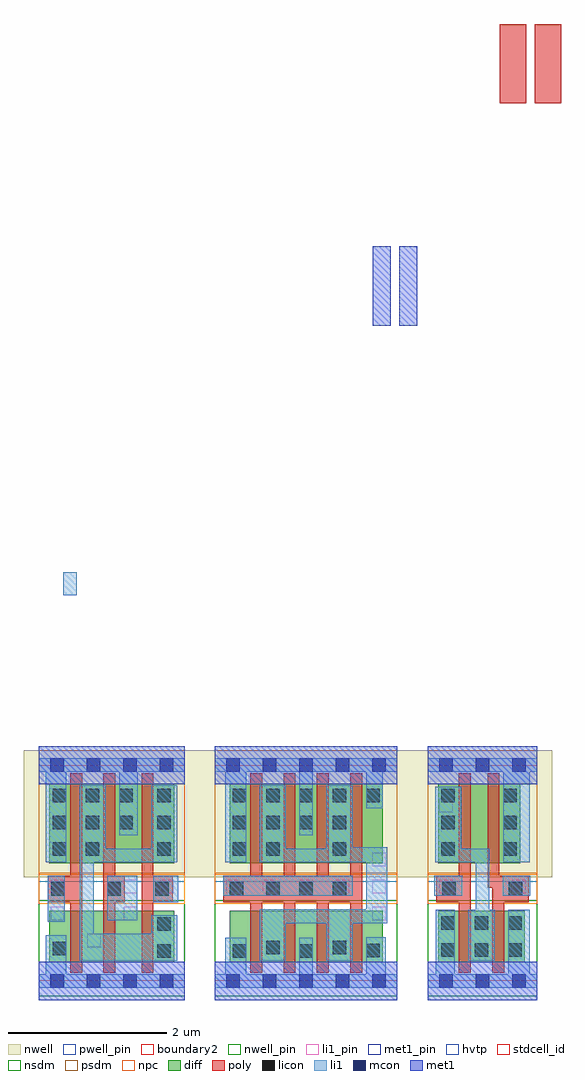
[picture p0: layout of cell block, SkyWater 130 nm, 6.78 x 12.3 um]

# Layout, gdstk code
import gdstk
lib = gdstk.Library(unit=1e-6, precision=1e-09)
def R(c, l, rs):  # rectangles x0, y0, x1, y1
    for r in rs: c.add(gdstk.rectangle(r[:2], r[2:], *l))
def A(c, l, x, y, w, h, nx, ny, dx, dy):  # array of equal rectangles
    R(c, l, [(x+i*dx, y+j*dy, x+i*dx+w, y+j*dy+h) for i in range(nx) for j in range(ny)])
def P(c, l, *ps):  # polygons
    for p in ps: c.add(gdstk.Polygon(p, *l))
nwell_pin = (64, 16)
nwell = (64, 20)
diff = (65, 20)
poly = (66, 20)
licon = (66, 44)
li1_pin = (67, 16)
li1 = (67, 20)
mcon = (67, 44)
met1_pin = (68, 16)
met1 = (68, 20)
hvtp = (78, 44)
stdcell_id = (81, 4)
nsdm = (93, 44)
psdm = (94, 20)
npc = (95, 20)
pwell_pin = (122, 16)
boundary2 = (236, 0)

sky130_fd_sc_hd__nand3_1 = lib.new_cell('sky130_fd_sc_hd__nand3_1')
R(sky130_fd_sc_hd__nand3_1, nwell_pin, [(0.15,2.635,0.32,2.805)])
R(sky130_fd_sc_hd__nand3_1, nwell, [(-0.19,1.305,2.03,2.91)])
R(sky130_fd_sc_hd__nand3_1, diff, [(0.135,0.235,1.705,0.885), (0.135,1.485,1.705,2.485)])
P(sky130_fd_sc_hd__nand3_1, poly, [(1.295,0.105),(1.295,2.615),(1.445,2.615),(1.445,1.325),(1.69,1.325),(1.69,0.995),(1.445,0.995),(1.445,0.105)],
  [(0.815,0.105),(0.815,2.615),(0.965,2.615),(0.965,1.325),(1.085,1.325),(1.085,0.995),(0.965,0.995),(0.965,0.105)],
  [(0.395,0.105),(0.395,0.995),(0.11,0.995),(0.11,1.325),(0.395,1.325),(0.395,2.615),(0.545,2.615),(0.545,0.105)])
A(sky130_fd_sc_hd__nand3_1, licon, 1.495, 1.575, 0.17, 0.17, 1, 3, 0, 0.34)
A(sky130_fd_sc_hd__nand3_1, licon, 0.175, 1.915, 0.17, 0.17, 3, 2, 0.42, 0.34)
R(sky130_fd_sc_hd__nand3_1, licon, [(1.495,0.295,1.665,0.465), (0.175,0.325,0.345,0.495), (1.495,0.635,1.665,0.805), (0.16,1.075,0.33,1.245), (0.865,1.075,1.035,1.245), (1.47,1.075,1.64,1.245), (0.175,1.575,0.345,1.745), (0.595,1.575,0.765,1.745)])
R(sky130_fd_sc_hd__nand3_1, li1_pin, [(0.61,0.425,0.78,0.595), (0.15,0.765,0.32,0.935), (1.07,0.765,1.24,0.935), (0.15,1.105,0.32,1.275), (1.07,1.105,1.24,1.275), (1.53,1.105,1.7,1.275)])
R(sky130_fd_sc_hd__nand3_1, li1, [(0.11,0.745,0.33,1.325), (0.865,0.765,1.24,1.325), (1.445,0.995,1.755,1.325)])
P(sky130_fd_sc_hd__nand3_1, li1, [(0.09,1.495),(0.09,2.635),(0,2.635),(0,2.805),(1.84,2.805),(1.84,2.635),(1.245,2.635),(1.245,1.835),(1.015,1.835),(1.015,2.635),(0.345,2.635),(0.345,1.495)],
  [(0,-0.085),(0,0.085),(0.09,0.085),(0.09,0.575),(0.345,0.575),(0.345,0.085),(1.84,0.085),(1.84,-0.085)],
  [(0.515,0.255),(0.515,2.465),(0.845,2.465),(0.845,1.665),(1.415,1.665),(1.415,2.465),(1.745,2.465),(1.745,1.495),(0.695,1.495),(0.695,0.595),(1.415,0.595),(1.415,0.825),(1.745,0.825),(1.745,0.255)])
A(sky130_fd_sc_hd__nand3_1, mcon, 0.145, -0.085, 0.17, 0.17, 4, 2, 0.46, 2.72)
R(sky130_fd_sc_hd__nand3_1, met1_pin, [(0.15,-0.085,0.32,0.085), (0.15,2.635,0.32,2.805)])
R(sky130_fd_sc_hd__nand3_1, hvtp, [(0,1.25,1.84,2.72)])
R(sky130_fd_sc_hd__nand3_1, stdcell_id, [(0,0,1.84,2.72)])
R(sky130_fd_sc_hd__nand3_1, nsdm, [(0,-0.19,1.84,1.015)])
R(sky130_fd_sc_hd__nand3_1, psdm, [(0,1.355,1.84,2.91)])
R(sky130_fd_sc_hd__nand3_1, npc, [(0,0.975,1.84,1.345)])
R(sky130_fd_sc_hd__nand3_1, pwell_pin, [(0.15,-0.085,0.32,0.085)])
R(sky130_fd_sc_hd__nand3_1, boundary2, [(0,0,1.84,2.72)])
sky130_fd_sc_hd__nand3_1.add(gdstk.FlexPath([(0,2.72),(1.84,2.72)], 0.48, ends="flush", simple_path=True, layer=68, datatype=20))  # met1
sky130_fd_sc_hd__nand3_1.add(gdstk.FlexPath([(0,0),(1.84,0)], 0.48, ends="flush", simple_path=True, layer=68, datatype=20))  # met1
sky130_fd_sc_hd__nand3_1.add(gdstk.Label('Y', (0.695,0.51), layer=67, texttype=5))
sky130_fd_sc_hd__nand3_1.add(gdstk.Label('A', (1.615,1.19), layer=67, texttype=5))
sky130_fd_sc_hd__nand3_1.add(gdstk.Label('C', (0.235,1.19), layer=67, texttype=5))
sky130_fd_sc_hd__nand3_1.add(gdstk.Label('B', (1.155,1.19), layer=67, texttype=5))
sky130_fd_sc_hd__nand3_1.add(gdstk.Label('VPB', (0.235,2.72), layer=64, texttype=5))
sky130_fd_sc_hd__nand3_1.add(gdstk.Label('VNB', (0.235,0), layer=64, texttype=59))
sky130_fd_sc_hd__nand3_1.add(gdstk.Label('VGND', (0.235,0), layer=68, texttype=5))
sky130_fd_sc_hd__nand3_1.add(gdstk.Label('VPWR', (0.235,2.72), layer=68, texttype=5))
sky130_fd_sc_hd__nand3_1.add(gdstk.Label('nand3_1', (0,0), layer=83, texttype=44))

sky130_fd_sc_hd__inv_4 = lib.new_cell('sky130_fd_sc_hd__inv_4')
R(sky130_fd_sc_hd__inv_4, nwell_pin, [(0.145,2.635,0.315,2.805)])
R(sky130_fd_sc_hd__inv_4, nwell, [(-0.19,1.305,2.49,2.91)])
R(sky130_fd_sc_hd__inv_4, diff, [(0.185,0.235,2.115,0.885), (0.185,1.485,2.115,2.485)])
P(sky130_fd_sc_hd__inv_4, poly, [(0.445,0.105),(0.445,0.995),(0.105,0.995),(0.105,1.325),(0.445,1.325),(0.445,2.615),(0.595,2.615),(0.595,1.325),(0.865,1.325),(0.865,2.615),(1.015,2.615),(1.015,1.325),(1.285,1.325),(1.285,2.615),(1.435,2.615),(1.435,1.325),(1.705,1.325),(1.705,2.615),(1.855,2.615),(1.855,0.105),(1.705,0.105),(1.705,0.995),(1.435,0.995),(1.435,0.105),(1.285,0.105),(1.285,0.995),(1.015,0.995),(1.015,0.105),(0.865,0.105),(0.865,0.995),(0.595,0.995),(0.595,0.105)])
A(sky130_fd_sc_hd__inv_4, licon, 0.645, 1.075, 0.17, 0.17, 3, 1, 0.42, 0)
A(sky130_fd_sc_hd__inv_4, licon, 0.225, 1.915, 0.17, 0.17, 4, 1, 0.42, 0)
A(sky130_fd_sc_hd__inv_4, licon, 0.225, 2.255, 0.17, 0.17, 5, 1, 0.42, 0)
R(sky130_fd_sc_hd__inv_4, licon, [(0.225,0.295,0.395,0.465), (1.065,0.295,1.235,0.465), (1.905,0.3,2.075,0.47), (0.645,0.335,0.815,0.505), (1.485,0.335,1.655,0.505), (0.185,1.075,0.355,1.245), (0.225,1.575,0.395,1.745), (0.645,1.575,0.815,1.745), (1.485,1.575,1.655,1.745)])
A(sky130_fd_sc_hd__inv_4, li1_pin, 0.145, 1.105, 0.17, 0.17, 5, 1, 0.46, 0)
R(sky130_fd_sc_hd__inv_4, li1_pin, [(1.985,0.765,2.155,0.935), (1.985,1.445,2.155,1.615)])
R(sky130_fd_sc_hd__inv_4, li1, [(0.105,1.075,1.735,1.325)])
P(sky130_fd_sc_hd__inv_4, li1, [(0,-0.085),(0,0.085),(0.13,0.085),(0.13,0.545),(0.395,0.545),(0.395,0.085),(1.065,0.085),(1.065,0.545),(1.235,0.545),(1.235,0.085),(1.905,0.085),(1.905,0.55),(2.155,0.55),(2.155,0.085),(2.3,0.085),(2.3,-0.085)],
  [(0.13,1.495),(0.13,2.635),(0,2.635),(0,2.805),(2.3,2.805),(2.3,2.635),(2.115,2.635),(2.115,2.175),(1.905,2.175),(1.905,2.635),(1.235,2.635),(1.235,1.835),(1.065,1.835),(1.065,2.635),(0.395,2.635),(0.395,1.495)],
  [(0.565,0.255),(0.565,0.905),(1.905,0.905),(1.905,1.495),(0.565,1.495),(0.565,2.465),(0.895,2.465),(0.895,1.665),(1.405,1.665),(1.405,2.465),(1.735,2.465),(1.735,1.685),(2.17,1.685),(2.17,0.725),(1.735,0.725),(1.735,0.255),(1.405,0.255),(1.405,0.725),(0.895,0.725),(0.895,0.255)])
A(sky130_fd_sc_hd__inv_4, mcon, 0.145, -0.085, 0.17, 0.17, 5, 2, 0.46, 2.72)
R(sky130_fd_sc_hd__inv_4, met1_pin, [(0.145,-0.085,0.315,0.085), (0.145,2.635,0.315,2.805)])
R(sky130_fd_sc_hd__inv_4, hvtp, [(0,1.25,2.3,2.72)])
R(sky130_fd_sc_hd__inv_4, stdcell_id, [(0,0,2.3,2.72)])
R(sky130_fd_sc_hd__inv_4, nsdm, [(0,-0.19,2.3,1.015)])
R(sky130_fd_sc_hd__inv_4, psdm, [(0,1.355,2.3,2.91)])
R(sky130_fd_sc_hd__inv_4, npc, [(0,0.975,2.3,1.345)])
R(sky130_fd_sc_hd__inv_4, pwell_pin, [(0.145,-0.085,0.315,0.085)])
R(sky130_fd_sc_hd__inv_4, boundary2, [(0,0,2.3,2.72)])
sky130_fd_sc_hd__inv_4.add(gdstk.FlexPath([(0,2.72),(2.3,2.72)], 0.48, ends="flush", simple_path=True, layer=68, datatype=20))  # met1
sky130_fd_sc_hd__inv_4.add(gdstk.FlexPath([(0,0),(2.3,0)], 0.48, ends="flush", simple_path=True, layer=68, datatype=20))  # met1
sky130_fd_sc_hd__inv_4.add(gdstk.Label('Y', (2.07,0.85), layer=67, texttype=5))
sky130_fd_sc_hd__inv_4.add(gdstk.Label('Y', (2.07,1.19), layer=67, texttype=5))
sky130_fd_sc_hd__inv_4.add(gdstk.Label('Y', (2.07,1.53), layer=67, texttype=5))
sky130_fd_sc_hd__inv_4.add(gdstk.Label('A', (0.23,1.19), layer=67, texttype=5))
sky130_fd_sc_hd__inv_4.add(gdstk.Label('A', (0.69,1.19), layer=67, texttype=5))
sky130_fd_sc_hd__inv_4.add(gdstk.Label('A', (1.15,1.19), layer=67, texttype=5))
sky130_fd_sc_hd__inv_4.add(gdstk.Label('A', (1.61,1.19), layer=67, texttype=5))
sky130_fd_sc_hd__inv_4.add(gdstk.Label('VPB', (0.23,2.72), layer=64, texttype=5))
sky130_fd_sc_hd__inv_4.add(gdstk.Label('VNB', (0.23,0), layer=64, texttype=59))
sky130_fd_sc_hd__inv_4.add(gdstk.Label('VPWR', (0.23,2.72), layer=68, texttype=5))
sky130_fd_sc_hd__inv_4.add(gdstk.Label('VGND', (0.23,0), layer=68, texttype=5))
sky130_fd_sc_hd__inv_4.add(gdstk.Label('inv_4', (0,0), layer=83, texttype=44))

sky130_fd_sc_hd__nor2_1 = lib.new_cell('sky130_fd_sc_hd__nor2_1')
R(sky130_fd_sc_hd__nor2_1, nwell_pin, [(0.15,2.635,0.32,2.805)])
R(sky130_fd_sc_hd__nor2_1, nwell, [(-0.19,1.305,1.57,2.91)])
R(sky130_fd_sc_hd__nor2_1, diff, [(0.135,0.235,1.225,0.885), (0.135,1.485,1.165,2.485)])
P(sky130_fd_sc_hd__nor2_1, poly, [(0.815,0.105),(0.815,1.175),(0.755,1.175),(0.755,2.615),(0.905,2.615),(0.905,1.325),(1.275,1.325),(1.275,0.995),(0.965,0.995),(0.965,0.105)],
  [(0.395,0.105),(0.395,0.995),(0.11,0.995),(0.11,1.325),(0.395,1.325),(0.395,2.615),(0.545,2.615),(0.545,0.105)])
A(sky130_fd_sc_hd__nor2_1, licon, 0.175, 0.305, 0.17, 0.17, 3, 2, 0.42, 0.34)
A(sky130_fd_sc_hd__nor2_1, licon, 0.175, 1.575, 0.17, 0.17, 1, 3, 0, 0.34)
A(sky130_fd_sc_hd__nor2_1, licon, 0.955, 1.575, 0.17, 0.17, 1, 3, 0, 0.34)
R(sky130_fd_sc_hd__nor2_1, licon, [(0.185,1.075,0.355,1.245), (1.025,1.075,1.195,1.245)])
R(sky130_fd_sc_hd__nor2_1, li1_pin, [(0.145,1.105,0.315,1.275), (1.065,1.105,1.235,1.275), (0.15,2.125,0.32,2.295)])
R(sky130_fd_sc_hd__nor2_1, li1, [(0.085,1.075,0.435,1.325), (0.945,1.075,1.295,1.325)])
P(sky130_fd_sc_hd__nor2_1, li1, [(0,-0.085),(0,0.085),(0.105,0.085),(0.105,0.895),(0.345,0.895),(0.345,0.085),(1.015,0.085),(1.015,0.895),(1.285,0.895),(1.285,0.085),(1.38,0.085),(1.38,-0.085)],
  [(0.955,1.495),(0.955,2.635),(0,2.635),(0,2.805),(1.38,2.805),(1.38,2.635),(1.285,2.635),(1.285,1.495)],
  [(0.515,0.255),(0.515,0.895),(0.605,0.895),(0.605,1.495),(0.095,1.495),(0.095,2.45),(0.425,2.45),(0.425,1.665),(0.775,1.665),(0.775,0.895),(0.845,0.895),(0.845,0.255)])
A(sky130_fd_sc_hd__nor2_1, mcon, 0.145, -0.085, 0.17, 0.17, 3, 2, 0.46, 2.72)
R(sky130_fd_sc_hd__nor2_1, met1_pin, [(0.15,-0.085,0.32,0.085), (0.15,2.635,0.32,2.805)])
R(sky130_fd_sc_hd__nor2_1, hvtp, [(0,1.25,1.38,2.72)])
R(sky130_fd_sc_hd__nor2_1, stdcell_id, [(0,0,1.38,2.72)])
R(sky130_fd_sc_hd__nor2_1, nsdm, [(0,-0.19,1.38,1.015)])
R(sky130_fd_sc_hd__nor2_1, psdm, [(0,1.355,1.38,2.91)])
R(sky130_fd_sc_hd__nor2_1, npc, [(0,0.975,1.38,1.345)])
R(sky130_fd_sc_hd__nor2_1, pwell_pin, [(0.15,-0.085,0.32,0.085)])
R(sky130_fd_sc_hd__nor2_1, boundary2, [(0,0,1.38,2.72)])
sky130_fd_sc_hd__nor2_1.add(gdstk.FlexPath([(0,2.72),(1.38,2.72)], 0.48, ends="flush", simple_path=True, layer=68, datatype=20))  # met1
sky130_fd_sc_hd__nor2_1.add(gdstk.FlexPath([(0,0),(1.38,0)], 0.48, ends="flush", simple_path=True, layer=68, datatype=20))  # met1
sky130_fd_sc_hd__nor2_1.add(gdstk.Label('B', (0.23,1.19), layer=67, texttype=5))
sky130_fd_sc_hd__nor2_1.add(gdstk.Label('Y', (0.235,2.21), layer=67, texttype=5))
sky130_fd_sc_hd__nor2_1.add(gdstk.Label('A', (1.15,1.19), layer=67, texttype=5))
sky130_fd_sc_hd__nor2_1.add(gdstk.Label('VPB', (0.235,2.72), layer=64, texttype=5))
sky130_fd_sc_hd__nor2_1.add(gdstk.Label('VNB', (0.235,0), layer=64, texttype=59))
sky130_fd_sc_hd__nor2_1.add(gdstk.Label('VGND', (0.23,0), layer=68, texttype=5))
sky130_fd_sc_hd__nor2_1.add(gdstk.Label('VPWR', (0.23,2.72), layer=68, texttype=5))
sky130_fd_sc_hd__nor2_1.add(gdstk.Label('nor2_1', (0,0), layer=83, texttype=44))

block = lib.new_cell('block')
R(block, poly, [(5.81,11.06,6.145,12.06), (6.25,11.06,6.585,12.06)])
R(block, li1, [(0.31,4.86,0.48,5.15)])
R(block, met1, [(4.21,8.26,4.435,9.26), (4.545,8.26,4.77,9.26)])
block.add(gdstk.Reference(sky130_fd_sc_hd__nand3_1, (0,0)))
block.add(gdstk.Reference(sky130_fd_sc_hd__inv_4, (2.22,0)))
block.add(gdstk.Reference(sky130_fd_sc_hd__nor2_1, (4.9,0)))

lib.write_gds('block.gds')
